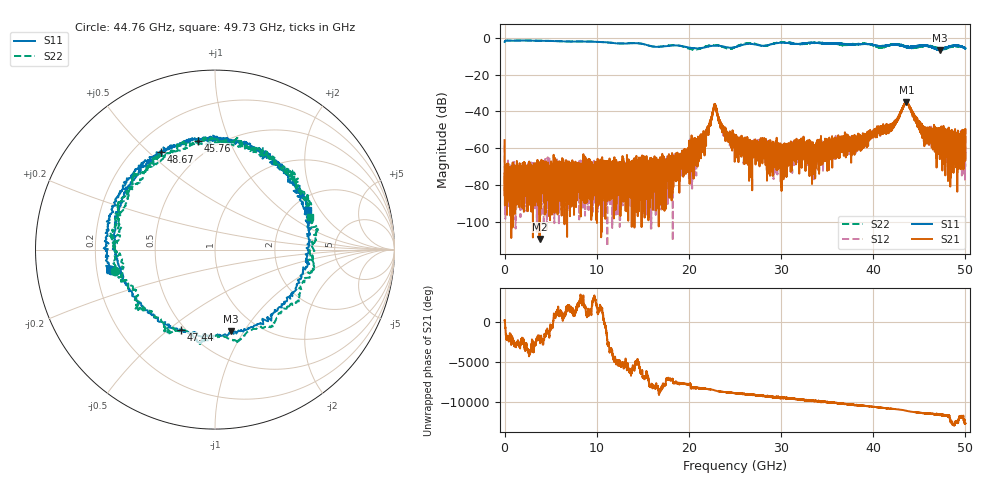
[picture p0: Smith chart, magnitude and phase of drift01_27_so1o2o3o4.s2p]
!Created with skrf (http://scikit-rf.org).
# Hz S RI R 50.0
!freq ReS11 ImS11 ReS21 ImS21 ReS12 ImS12 ReS22 ImS22
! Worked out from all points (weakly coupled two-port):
!   10001 points, 300 kHz to 50 GHz, reference 50 ohm
!   highest |S21| = -34.79 dB at 43.61 GHz (marker M1); lowest = -109.5 dB at 3.79 GHz (marker M2)
!   lowest |S11| = -6.7 dB at 47.21 GHz (marker M3), VSWR 2.74, Z = 37.7 - j43.9 ohm
!   |S11| at or under -10 dB: nowhere
!   |S22| runs from -6.4 to -1.4 dB; largest |S21 - S12| = 0.0043
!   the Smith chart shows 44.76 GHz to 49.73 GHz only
!   S11 on the Smith chart (normalised r, x): 44.76 GHz: 0.26, -0.09; 45.76 GHz: 0.40, +0.77; 47.44 GHz: 0.47, -0.55; 48.67 GHz: 0.31, +0.55; 49.73 GHz: 2.45, +1.58
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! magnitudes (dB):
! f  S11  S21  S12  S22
! 300 kHz  -2.1  -55.6  -58.5  -2.1
! 260.3 MHz  -1.4  -75.9  -76.8  -1.4
! 3.79 GHz  -1.5  -109.5  -79.8  -1.5
! 8.335 GHz  -2.0  -69.8  -73.8  -1.8
! 16.67 GHz  -4.8  -83.0  -78.7  -4.8
! 20.79 GHz  -5.7  -55.6  -55.7  -6.2
! 21.9 GHz  -4.9  -52.1  -51.9  -4.5
! 22.79 GHz  -4.3  -35.9  -36.7  -4.0
! 23.67 GHz  -4.6  -48.8  -48.2  -4.8
! 25 GHz  -5.0  -55.3  -55.8  -5.1
! 30.11 GHz  -2.6  -62.2  -61.5  -2.3
! 31.97 GHz  -3.3  -73.9  -60.6  -3.3
! 33.34 GHz  -2.6  -60.5  -64.0  -2.6
! 41.67 GHz  -3.9  -51.9  -48.8  -4.1
! 43.61 GHz  -4.8  -34.8  -35.1  -4.8
! 44.76 GHz  -4.6  -48.3  -46.0  -4.9
! 45.76 GHz  -4.3  -52.9  -52.7  -4.2
! 47.21 GHz  -6.7  -61.2  -54.9  -5.8
! 47.44 GHz  -6.3  -52.9  -52.2  -5.6
! 48.67 GHz  -4.1  -59.6  -61.1  -4.6
! 49.73 GHz  -5.0  -52.3  -58.6  -5.1
! 50 GHz  -5.6  -51.9  -63.2  -5.4
